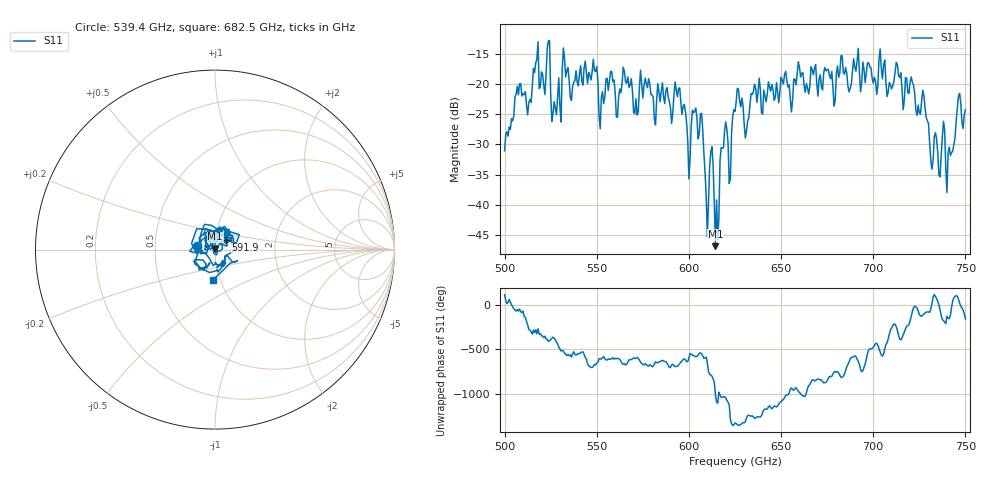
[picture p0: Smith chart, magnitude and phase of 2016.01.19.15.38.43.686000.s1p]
!Created with skrf (http://scikit-rf.org).
# GHz S RI R 50.0
!freq ReS11 ImS11
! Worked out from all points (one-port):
!   401 points, 500 GHz to 750 GHz, reference 50 ohm
!   lowest |S11| = -46.8 dB at 614.4 GHz (marker M1), VSWR 1.01, Z = 50.1 + j0.448 ohm
!   |S11| at or under -10 dB: start of sweep to end of sweep
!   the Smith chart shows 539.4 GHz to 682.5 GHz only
!   S11 on the Smith chart (normalised r, x): 539.4 GHz: 0.82, +0.03; 591.9 GHz: 1.13, +0.12; 682.5 GHz: 0.92, -0.32
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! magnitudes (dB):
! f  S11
! 500 GHz  -31.0
! 507.5 GHz  -21.8
! 513.1 GHz  -23.1
! 516.9 GHz  -16.6
! 523.8 GHz  -12.9
! 526.9 GHz  -22.9
! 531.2 GHz  -17.8
! 539.4 GHz  -19.7
! 562.5 GHz  -20.8
! 591.9 GHz  -21.8
! 593.8 GHz  -22.1
! 600 GHz  -35.7
! 603.1 GHz  -24.6
! 606.9 GHz  -24.9
! 609.4 GHz  -38.5
! 612.5 GHz  -30.4
! 614.4 GHz  -46.8
! 618.8 GHz  -30.5
! 622.5 GHz  -35.6
! 625 GHz  -24.6
! 631.2 GHz  -27.8
! 656.2 GHz  -22.7
! 682.5 GHz  -15.4
! 687.5 GHz  -20.8
! 690.6 GHz  -17.9
! 718.8 GHz  -21.4
! 735.6 GHz  -35.1
! 750 GHz  -24.3
